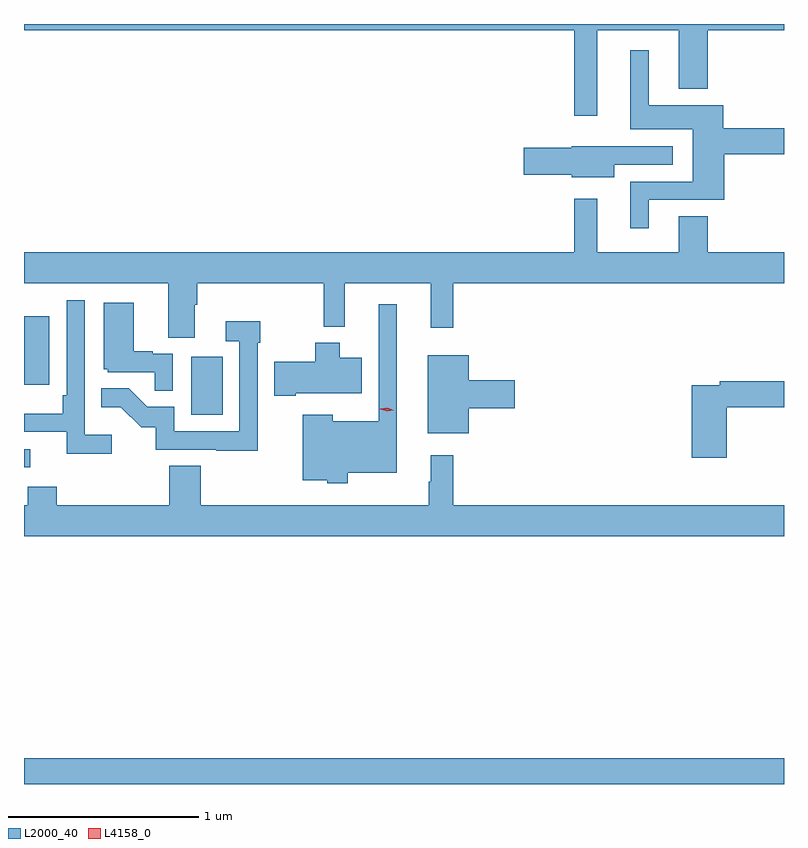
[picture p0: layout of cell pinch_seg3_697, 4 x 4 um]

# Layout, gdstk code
import gdstk
lib = gdstk.Library(unit=1e-6, precision=1e-09)
def R(c, l, rs):  # rectangles x0, y0, x1, y1
    for r in rs: c.add(gdstk.rectangle(r[:2], r[2:], *l))
def P(c, l, *ps):  # polygons
    for p in ps: c.add(gdstk.Polygon(p, *l))
L2000_40 = (2000, 40)
L4158_0 = (4158, 0)

pinch_seg3_697 = lib.new_cell('pinch_seg3_697')
R(pinch_seg3_697, L2000_40, [(1107.759,675.637,1111.759,675.772), (1107.759,677.304,1107.793,677.4), (1108.64,677.58,1108.804,677.887), (1107.759,677.738,1107.892,678.1)])
P(pinch_seg3_697, L2000_40, [(1110.775,679.604),(1111.205,679.604),(1111.205,679.295),(1111.358,679.295),(1111.358,679.604),(1111.759,679.604),(1111.759,679.637),(1107.759,679.637),(1107.759,679.604),(1110.654,679.604),(1110.654,679.155),(1110.775,679.155)],
  [(1111.048,678.711),(1111.444,678.711),(1111.444,678.952),(1111.759,678.952),(1111.759,679.088),(1111.439,679.088),(1111.439,679.21),(1111.048,679.21),(1111.048,679.498),(1110.95,679.498),(1110.95,679.082),(1111.28,679.082),(1111.28,678.807),(1110.95,678.807),(1110.95,678.561),(1111.048,678.561)],
  [(1110.865,678.897),(1111.174,678.897),(1111.174,678.993),(1110.861,678.993),(1110.861,678.994),(1110.642,678.994),(1110.642,678.986),(1110.39,678.986),(1110.39,678.844),(1110.642,678.844),(1110.642,678.83),(1110.865,678.83)],
  [(1108.657,678.16),(1108.67,678.16),(1108.67,678.272),(1109.337,678.272),(1109.337,678.044),(1109.447,678.044),(1109.447,678.272),(1109.9,678.272),(1109.9,678.039),(1110.017,678.039),(1110.017,678.272),(1111.759,678.272),(1111.759,678.436),(1111.358,678.436),(1111.358,678.626),(1111.205,678.626),(1111.205,678.436),(1110.775,678.436),(1110.775,678.718),(1110.654,678.718),(1110.654,678.436),(1107.759,678.436),(1107.759,678.272),(1108.517,678.272),(1108.517,677.986),(1108.657,677.986)],
  [(1108.222,677.476),(1108.08,677.476),(1108.08,678.184),(1107.984,678.184),(1107.984,677.683),(1107.964,677.683),(1107.964,677.587),(1107.759,677.587),(1107.759,677.49),(1107.983,677.49),(1107.983,677.374),(1108.222,677.374)],
  [(1108.542,677.901),(1108.436,677.901),(1108.436,677.914),(1108.336,677.914),(1108.336,678.169),(1108.178,678.169),(1108.178,677.82),(1108.2,677.82),(1108.2,677.805),(1108.447,677.805),(1108.447,677.707),(1108.542,677.707)],
  [(1109.463,677.276),(1109.722,677.276),(1109.722,678.163),(1109.625,678.163),(1109.625,677.545),(1109.383,677.545),(1109.383,677.581),(1109.225,677.581),(1109.225,677.237),(1109.355,677.237),(1109.355,677.219),(1109.463,677.219)],
  [(1108.989,677.96),(1109.002,677.96),(1109.002,678.073),(1108.821,678.073),(1108.821,677.967),(1108.893,677.967),(1108.893,677.493),(1108.551,677.493),(1108.551,677.622),(1108.407,677.622),(1108.309,677.72),(1108.165,677.72),(1108.165,677.621),(1108.269,677.621),(1108.376,677.514),(1108.453,677.514),(1108.453,677.397),(1108.771,677.397),(1108.771,677.392),(1108.989,677.392)],
  [(1109.188,677.693),(1109.536,677.693),(1109.536,677.881),(1109.422,677.881),(1109.422,677.959),(1109.293,677.959),(1109.293,677.859),(1109.076,677.859),(1109.076,677.681),(1109.188,677.681)],
  [(1110.1,677.615),(1110.343,677.615),(1110.343,677.762),(1110.1,677.762),(1110.1,677.893),(1109.885,677.893),(1109.885,677.483),(1110.1,677.483)],
  [(1111.457,677.62),(1111.759,677.62),(1111.759,677.756),(1111.42,677.756),(1111.42,677.736),(1111.274,677.736),(1111.274,677.355),(1111.457,677.355)],
  [(1111.759,677.104),(1110.017,677.104),(1110.017,677.368),(1109.9,677.368),(1109.9,677.228),(1109.889,677.228),(1109.889,677.104),(1108.688,677.104),(1108.688,677.312),(1108.523,677.312),(1108.523,677.104),(1107.932,677.104),(1107.932,677.202),(1107.78,677.202),(1107.78,677.104),(1107.759,677.104),(1107.759,676.94),(1111.759,676.94)])
P(pinch_seg3_697, L4158_0, [(1109.67,677.598),(1109.635,677.61),(1109.635,677.61),(1109.635,677.611),(1109.672,677.618),(1109.706,677.605),(1109.706,677.605),(1109.706,677.605)])

lib.write_gds('pinch_seg3_697.gds')
